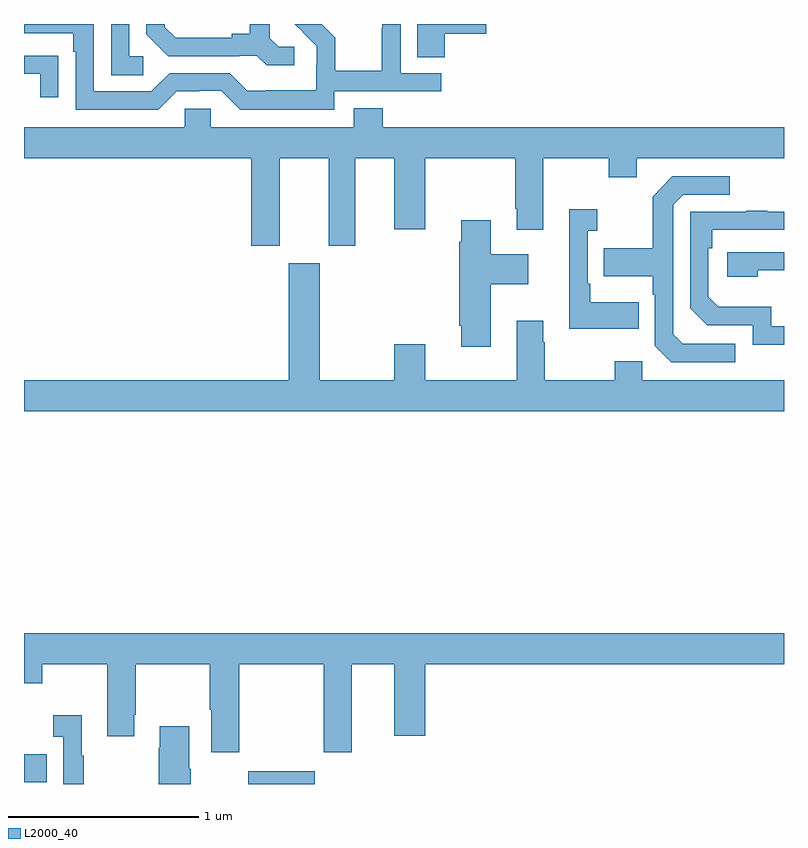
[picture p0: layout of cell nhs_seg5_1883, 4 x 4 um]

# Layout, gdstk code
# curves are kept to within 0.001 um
import gdstk
lib = gdstk.Library(unit=1e-6, precision=1e-09)
def R(c, l, rs):  # rectangles x0, y0, x1, y1
    for r in rs: c.add(gdstk.rectangle(r[:2], r[2:], *l))
def P(c, l, *ps):  # polygons
    for p in ps: c.add(gdstk.Polygon(p, *l))
L2000_40 = (2000, 40)

nhs_seg5_1883 = lib.new_cell('nhs_seg5_1883')
R(nhs_seg5_1883, L2000_40, [(224.18,854.799,224.53,854.866), (223,854.807,223.121,854.955)])
P(nhs_seg5_1883, L2000_40, [(224.634,858.444),(225.196,858.444),(225.196,858.54),(224.982,858.54),(224.982,858.799),(224.886,858.799),(224.886,858.776),(224.884,858.776),(224.884,858.553),(224.639,858.553),(224.639,858.727),(224.567,858.799),(224.425,858.799),(224.54,858.682),(224.54,858.585),(224.538,858.585),(224.538,858.451),(224.275,858.451),(224.275,858.447),(224.175,858.447),(224.082,858.54),(223.767,858.54),(223.671,858.444),(223.368,858.444),(223.368,858.799),(223,858.799),(223,858.75),(223.259,858.75),(223.259,858.653),(223.272,858.653),(223.272,858.348),(223.707,858.348),(223.803,858.444),(223.922,858.444),(223.922,858.447),(224.037,858.447),(224.137,858.347),(224.634,858.347)],
  [(223.627,858.63),(223.554,858.63),(223.554,858.799),(223.458,858.799),(223.458,858.529),(223.627,858.529)],
  [(225.215,858.749),(225.433,858.749),(225.433,858.799),(225.071,858.799),(225.071,858.625),(225.215,858.625)],
  [(224.422,858.678),(224.34,858.678),(224.293,858.725),(224.293,858.799),(224.189,858.799),(224.189,858.749),(224.093,858.749),(224.093,858.726),(223.798,858.726),(223.741,858.783),(223.741,858.799),(223.644,858.799),(223.644,858.746),(223.76,858.63),(224.132,858.63),(224.132,858.633),(224.226,858.633),(224.278,858.581),(224.422,858.581)],
  [(223.181,858.632),(223.079,858.632),(223.079,858.633),(223,858.633),(223,858.537),(223.085,858.537),(223.085,858.414),(223.181,858.414)],
  [(224.347,858.092),(224.603,858.092),(224.603,857.631),(224.743,857.631),(224.743,858.092),(224.948,858.092),(224.948,857.718),(225.112,857.718),(225.112,858.092),(225.586,858.092),(225.586,857.827),(225.593,857.827),(225.593,857.715),(225.733,857.715),(225.733,858.092),(226.078,858.092),(226.078,857.993),(226.225,857.993),(226.225,858.092),(227,858.092),(227,858.256),(224.888,858.256),(224.888,858.355),(224.735,858.355),(224.735,858.256),(223.983,858.256),(223.983,858.354),(223.845,858.354),(223.845,858.256),(223,858.256),(223,858.092),(224.195,858.092),(224.195,857.631),(224.347,857.631)],
  [(226.744,857.115),(226.467,857.115),(226.416,857.166),(226.416,857.847),(226.47,857.901),(226.714,857.901),(226.714,857.997),(226.413,857.997),(226.308,857.891),(226.308,857.619),(226.051,857.619),(226.051,857.471),(226.308,857.471),(226.308,857.375),(226.32,857.375),(226.32,857.106),(226.407,857.019),(226.744,857.019)],
  [(226.235,857.335),(225.979,857.335),(225.979,857.431),(225.966,857.431),(225.966,857.711),(226.018,857.711),(226.018,857.824),(225.869,857.824),(225.869,857.195),(226.235,857.195)],
  [(227,857.208),(226.932,857.208),(226.932,857.311),(226.655,857.311),(226.602,857.364),(226.602,857.618),(226.622,857.618),(226.622,857.715),(227,857.715),(227,857.811),(226.913,857.811),(226.913,857.816),(226.801,857.816),(226.801,857.811),(226.506,857.811),(226.506,857.304),(226.596,857.214),(226.836,857.214),(226.836,857.112),(227,857.112)],
  [(225.457,857.429),(225.655,857.429),(225.655,857.587),(225.457,857.587),(225.457,857.767),(225.302,857.767),(225.302,857.654),(225.29,857.654),(225.29,857.212),(225.302,857.212),(225.302,857.1),(225.457,857.1)],
  [(226.862,857.502),(227,857.502),(227,857.598),(226.701,857.598),(226.701,857.468),(226.862,857.468)],
  [(227,856.924),(226.254,856.924),(226.254,857.023),(226.108,857.023),(226.108,856.924),(225.741,856.924),(225.741,857.123),(225.733,857.123),(225.733,857.236),(225.593,857.236),(225.593,856.924),(225.112,856.924),(225.112,857.113),(224.948,857.113),(224.948,856.924),(224.557,856.924),(224.557,857.539),(224.393,857.539),(224.393,856.924),(223,856.924),(223,856.76),(227,856.76)],
  [(224.133,855.428),(224.578,855.428),(224.578,854.967),(224.725,854.967),(224.725,855.428),(224.948,855.428),(224.948,855.054),(225.112,855.054),(225.112,855.428),(227,855.428),(227,855.592),(223,855.592),(223,855.329),(223.095,855.329),(223.095,855.428),(223.439,855.428),(223.439,855.051),(223.579,855.051),(223.579,855.163),(223.587,855.163),(223.587,855.428),(223.978,855.428),(223.978,855.19),(223.985,855.19),(223.985,854.967),(224.133,854.967)],
  [(223.315,854.947),(223.303,854.947),(223.303,855.16),(223.155,855.16),(223.155,855.047),(223.206,855.047),(223.206,854.799),(223.315,854.799)],
  [(223.878,854.879),(223.87,854.879),(223.87,855.103),(223.715,855.103),(223.715,854.99),(223.708,854.99),(223.708,854.799),(223.878,854.799)])

lib.write_gds('nhs_seg5_1883.gds')
